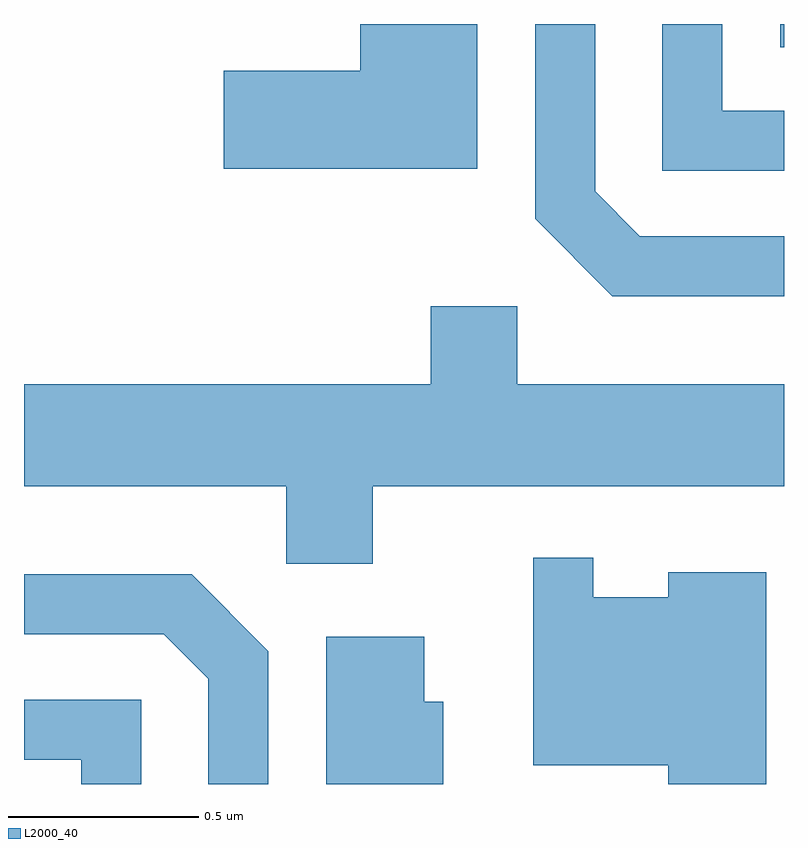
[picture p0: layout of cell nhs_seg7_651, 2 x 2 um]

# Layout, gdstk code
import gdstk
lib = gdstk.Library(unit=1e-6, precision=1e-09)
def R(c, l, rs):  # rectangles x0, y0, x1, y1
    for r in rs: c.add(gdstk.rectangle(r[:2], r[2:], *l))
def P(c, l, *ps):  # polygons
    for p in ps: c.add(gdstk.Polygon(p, *l))
L2000_40 = (2000, 40)

nhs_seg7_651 = lib.new_cell('nhs_seg7_651')
R(nhs_seg7_651, L2000_40, [(191.601,1773.191,191.611,1773.252)])
P(nhs_seg7_651, L2000_40, [(191.611,1772.694),(191.232,1772.694),(191.114,1772.812),(191.114,1773.252),(190.956,1773.252),(190.956,1772.739),(191.159,1772.536),(191.611,1772.536)],
  [(191.611,1773.024),(191.449,1773.024),(191.449,1773.252),(191.291,1773.252),(191.291,1772.866),(191.611,1772.866)],
  [(190.804,1773.252),(190.496,1773.252),(190.496,1773.129),(190.136,1773.129),(190.136,1772.871),(190.804,1772.871)],
  [(190.529,1772.036),(191.611,1772.036),(191.611,1772.304),(190.909,1772.304),(190.909,1772.509),(190.681,1772.509),(190.681,1772.304),(189.611,1772.304),(189.611,1772.036),(190.301,1772.036),(190.301,1771.831),(190.529,1771.831)],
  [(191.564,1771.809),(191.306,1771.809),(191.306,1771.744),(191.109,1771.744),(191.109,1771.848),(190.951,1771.848),(190.951,1771.301),(191.306,1771.301),(191.306,1771.252),(191.564,1771.252)],
  [(190.254,1771.602),(190.052,1771.804),(189.611,1771.804),(189.611,1771.646),(189.979,1771.646),(190.096,1771.529),(190.096,1771.252),(190.254,1771.252)],
  [(190.714,1771.469),(190.664,1771.469),(190.664,1771.639),(190.406,1771.639),(190.406,1771.252),(190.714,1771.252)],
  [(189.919,1771.474),(189.611,1771.474),(189.611,1771.316),(189.761,1771.316),(189.761,1771.252),(189.919,1771.252)])

lib.write_gds('nhs_seg7_651.gds')
